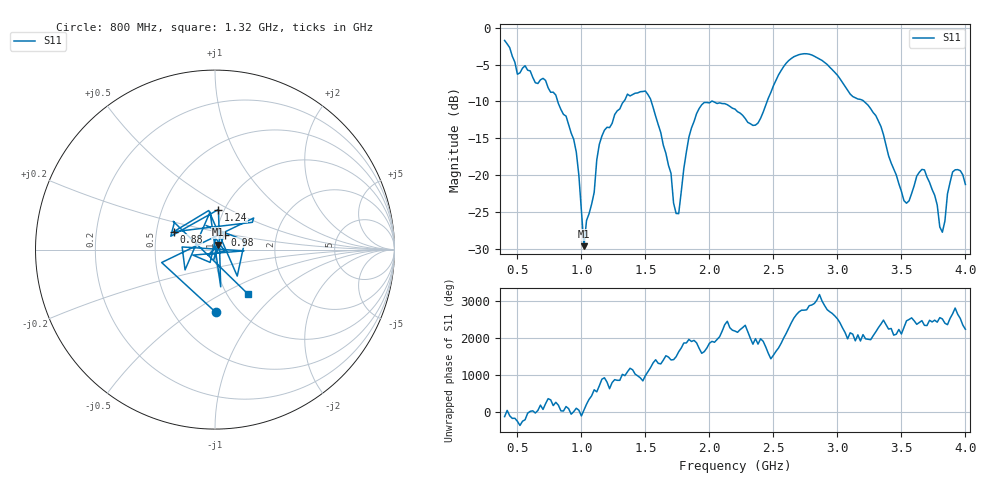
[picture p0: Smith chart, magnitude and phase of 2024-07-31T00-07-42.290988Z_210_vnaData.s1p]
!Created with skrf (http://scikit-rf.org).
# Hz S RI R 50.0
!freq ReS11 ImS11
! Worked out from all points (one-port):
!   181 points, 400 MHz to 4 GHz, reference 50 ohm
!   lowest |S11| = -29.7 dB at 1.02 GHz (marker M1), VSWR 1.07, Z = 51.6 + j2.93 ohm
!   |S11| at or under -10 dB: 814.9 MHz to 1.331 GHz (516.4 MHz wide, 48.1 % of centre); 1.546 GHz to 2.016 GHz (470.4 MHz wide, 26.4 % of centre); 3.207 GHz to end of sweep (the widest 3 of 4)
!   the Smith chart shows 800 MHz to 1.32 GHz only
!   S11 on the Smith chart (normalised r, x): 800 MHz: 0.79, -0.63; 880 MHz: 0.61, +0.13; 980 MHz: 1.10, +0.19; 1.24 GHz: 0.94, +0.44; 1.32 GHz: 1.24, -0.68
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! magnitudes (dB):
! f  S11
! 400 MHz  -1.7
! 500 MHz  -6.3
! 800 MHz  -9.1
! 860 MHz  -11.8
! 880 MHz  -12.0
! 980 MHz  -20.0
! 1.02 GHz  -29.7
! 1.1 GHz  -22.3
! 1.14 GHz  -15.8
! 1.24 GHz  -13.0
! 1.3 GHz  -11.0
! 1.32 GHz  -10.2
! 1.54 GHz  -9.7
! 1.76 GHz  -25.2
! 1.84 GHz  -14.8
! 1.92 GHz  -11.0
! 2.2 GHz  -11.1
! 2.38 GHz  -12.9
! 2.66 GHz  -3.9
! 2.88 GHz  -4.4
! 3.1 GHz  -9.0
! 3.3 GHz  -11.9
! 3.52 GHz  -23.5
! 3.56 GHz  -23.5
! 3.68 GHz  -19.3
! 3.82 GHz  -27.8
! 3.9 GHz  -19.6
! 4 GHz  -21.3
